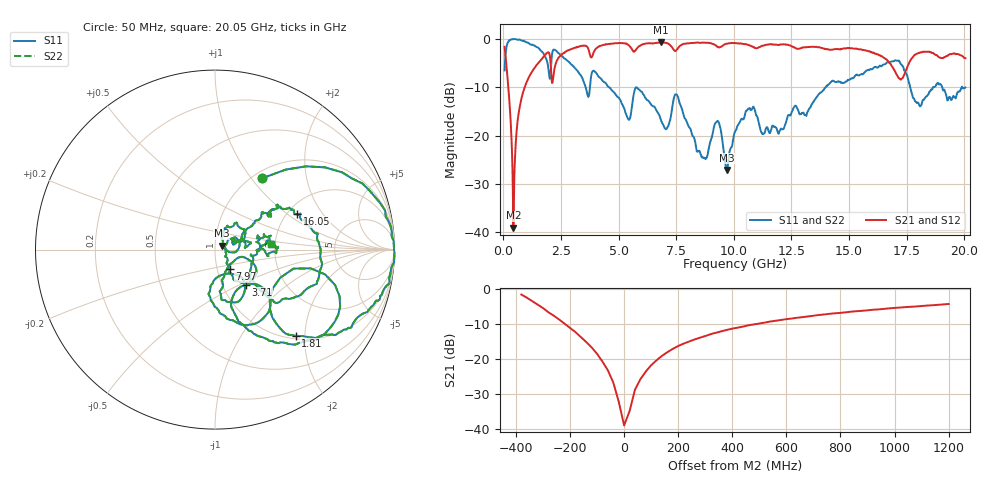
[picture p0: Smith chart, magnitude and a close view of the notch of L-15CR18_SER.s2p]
! P/N: L-15CR18JE
! Measured by Marlon
! Oct. 14, 2003
! Measure with Series-through-Fixture
#	mhz	s	ma	r	50
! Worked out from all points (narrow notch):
!   1001 points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, 50 MHz to 20.05 GHz, reference 50 ohm
!   highest |S21| = -0.68 dB at 6.85 GHz (marker M1); lowest = -39.1 dB at 430 MHz (marker M2)
!   notch at M2: 37.2 dB deep, 202 MHz wide at half that depth
!   lowest |S11| = -27.1 dB at 9.69 GHz (marker M3), VSWR 1.09, Z = 54 + j2.31 ohm
!   |S11| at or under -10 dB: 4.585 GHz to 5.749 GHz (1.163 GHz wide, 22.5 % of centre); 5.783 GHz to 13.98 GHz (8.193 GHz wide, 82.9 % of centre); 17.65 GHz to 18.65 GHz (990.8 MHz wide, 5.46 % of centre)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
!   |S22| runs from -27.1 to 0.0 dB; largest |S21 - S12| = 0
!   S11 on the Smith chart (normalised r, x): 50 MHz: 1.10, +1.12; 1.81 GHz: 1.06, -1.80; 3.71 GHz: 1.28, -0.54; 7.97 GHz: 1.15, -0.26; 16.05 GHz: 2.26, +1.19; 20.05 GHz: 1.91, +0.14
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50  0.4734 56.8  0.8315 -26.6  0.8315 -26.6  0.4734 56.8
430  1 -1.0  0.01113 -29.1  0.01113 -29.1  1 -1.0
850  0.9547 -15.8  0.2795 68.0  0.2795 68.0  0.9547 -15.8
1810  0.6568 -46.9  0.6852 35.5  0.6852 35.5  0.6568 -46.9
2190  0.7786 -30.8  0.455 42.5  0.455 42.5  0.7786 -30.8
3390  0.4083 -72.1  0.8492 17.0  0.8492 17.0  0.4083 -72.1
3710  0.2592 -49.0  0.7602 4.3  0.7602 4.3  0.2592 -49.0
3950  0.4633 -64.2  0.7554 19.8  0.7554 19.8  0.4633 -64.2
6730  0.1691 -75.4  0.9197 -7.4  0.9197 -7.4  0.1691 -75.4
6850  0.1418 -67.2  0.9252 -8.4  0.9252 -8.4  0.1418 -67.2
7490  0.2684 -37.4  0.7603 -9.4  0.7603 -9.4  0.2684 -37.4
7970  0.1367 -53.5  0.9024 -11.4  0.9024 -11.4  0.1367 -53.5
8710  0.05905 2.9  0.9193 -18.1  0.9193 -18.1  0.05905 2.9
9310  0.1415 13.6  0.8255 -22.8  0.8255 -22.8  0.1415 13.6
9690  0.04404 29.0  0.8933 -20.5  0.8933 -20.5  0.04404 29.0
10050  0.1094 65.4  0.9071 -24.3  0.9071 -24.3  0.1094 65.4
13390  0.2113 33.0  0.8343 -40.5  0.8343 -40.5  0.2113 33.0
16050  0.4999 23.4  0.7259 -58.9  0.7259 -58.9  0.4999 23.4
16730  0.5728 6.7  0.5792 -65.5  0.5792 -65.5  0.5728 6.7
17450  0.4552 -40.9  0.4643 -29.3  0.4643 -29.3  0.4552 -40.9
18050  0.2053 -8.6  0.7185 -39.2  0.7185 -39.2  0.2053 -8.6
20050  0.3157 6.1  0.6337 -59.5  0.6337 -59.5  0.3157 6.1
